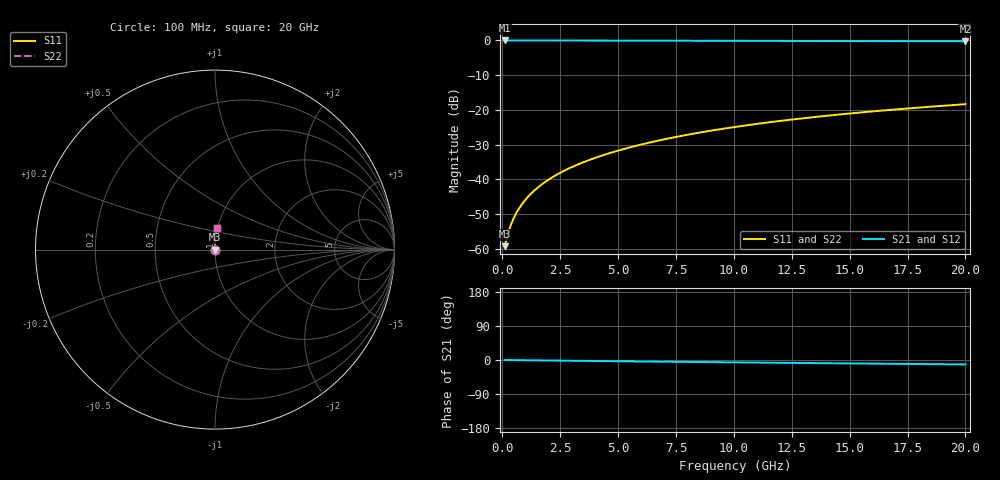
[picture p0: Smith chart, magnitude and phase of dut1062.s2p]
! Touchstone file exported from HFSS 2024.1.0
!  File:  C:/UserFiles/LocalFiles/RDL_TSV_Batchsim/temp_RDL_bottom_1062_1780052416.aedt
!  Generated:  07:02:36 PM May 29, 2026
!  Design:  RDL_bottom
!  Project:  temp_RDL_bottom_1062_1780052416
!  Setup:  Setup1
!  Solution:  Sweep
! Variables:
!  dtsv = 10.80580581um
!  hbump = 3um
!  htsv = 79.42um
!  ldown = 145.07um
!  lrdl = 100um
!  p = 40
!  p1 = 47.08um
!  rhole = 1um
!  t = 450um
!  tdown = 3.05um
!  trdl = 3.915915916um
!  wdown = 25.87um
!  wrdl = 20um
# GHz S MA R 50.000000
! Terminal data exported
! Port[1] = RDL1_T1
! Port[2] = RDL1_T2
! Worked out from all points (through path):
!   200 points, 100 MHz to 20 GHz, reference 50 ohm
!   highest |S21| = -0.01 dB at 100 MHz (marker M1); lowest = -0.2 dB at 20 GHz (marker M2)
!   group delay of S21, straight-line fit = 1.61 ps
!   lowest |S11| = -59.2 dB at 100 MHz (marker M3), VSWR 1.00, Z = 50.1 + j0.0557 ohm
!   |S11| at or under -10 dB: start of sweep to end of sweep
!   |S22| runs from -59.2 to -18.4 dB; largest |S21 - S12| = 2.7e-15
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0.1  0.001091 30.7  0.9991 -0.1  0.9991 -0.1  0.001091 30.7
! Gamma 0 0 0 0
! Port Impedance 50 0 50 0
0.2  0.001466 48.1  0.999 -0.1  0.999 -0.1  0.001466 48.1
0.3  0.0019 57.5  0.9989 -0.2  0.9989 -0.2  0.0019 57.5
0.4  0.002345 63.2  0.9989 -0.3  0.9989 -0.3  0.002345 63.2
0.5  0.002793 67.2  0.9988 -0.3  0.9988 -0.3  0.002793 67.2
0.6  0.003244 70.3  0.9988 -0.4  0.9988 -0.4  0.003244 70.3
0.8  0.004157 74.7  0.9987 -0.6  0.9987 -0.6  0.004157 74.7
1.1  0.005556 79.0  0.9985 -0.8  0.9985 -0.8  0.005556 79.0
1.3  0.006505 80.9  0.9984 -0.9  0.9984 -0.9  0.006505 80.9
1.6  0.007951 83.2  0.9982 -1.1  0.9982 -1.1  0.007951 83.2
2.1  0.01041 85.7  0.9978 -1.4  0.9978 -1.4  0.01041 85.7
2.7  0.01345 87.8  0.9973 -1.8  0.9973 -1.8  0.01345 87.8
3.5  0.01763 89.6  0.9963 -2.3  0.9963 -2.3  0.01763 89.6
4.2  0.02143 90.6  0.9954 -2.8  0.9954 -2.8  0.02143 90.6
5  0.02591 91.3  0.9942 -3.3  0.9942 -3.3  0.02592 91.3
5.9  0.03113 91.8  0.9928 -3.9  0.9928 -3.9  0.03114 91.8
6.8  0.03651 92.0  0.9914 -4.4  0.9914 -4.4  0.03651 92.0
8.4  0.04638 91.7  0.9888 -5.3  0.9888 -5.3  0.04638 91.7
10.1  0.05715 91.0  0.9861 -6.3  0.9861 -6.3  0.05715 91.0
13.4  0.07842 88.9  0.9814 -8.1  0.9814 -8.1  0.07842 88.9
16.7  0.0997 86.5  0.977 -9.9  0.977 -9.9  0.09971 86.5
20  0.1208 84.2  0.9727 -11.7  0.9727 -11.7  0.1208 84.2
